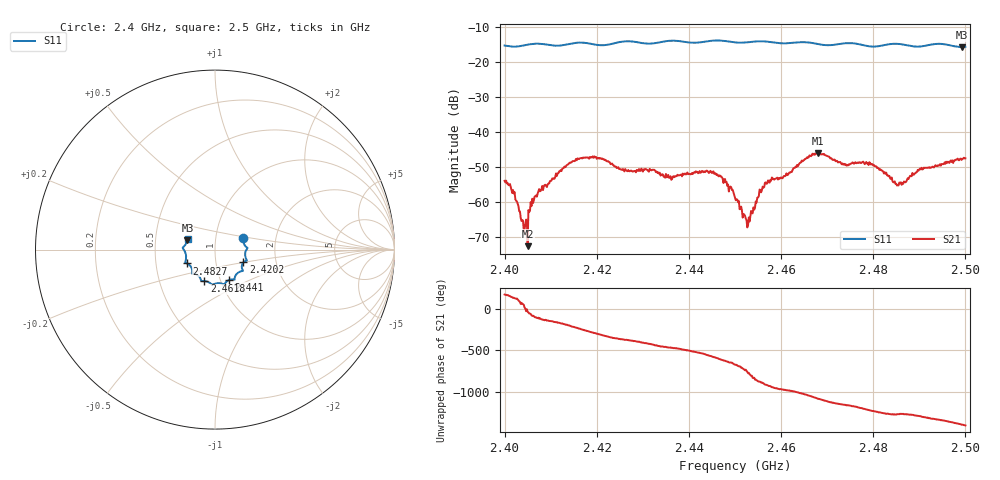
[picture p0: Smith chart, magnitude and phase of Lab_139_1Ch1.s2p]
# Hz S RI R 50
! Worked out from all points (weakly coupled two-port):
!   601 points, 2.4 GHz to 2.5 GHz, reference 50 ohm
!   highest |S21| = -45.99 dB at 2.468 GHz (marker M1); lowest = -72.6 dB at 2.405 GHz (marker M2)
!   lowest |S11| = -15.8 dB at 2.4993 GHz (marker M3), VSWR 1.39, Z = 36.5 + j3.84 ohm
!   |S11| at or under -10 dB: start of sweep to end of sweep
!   S12 and S22 are empty: the file has one direction only
!   S11 on the Smith chart (normalised r, x): 2.4 GHz: 1.36, +0.18; 2.4202 GHz: 1.36, -0.20; 2.441 GHz: 1.10, -0.39; 2.4618 GHz: 0.84, -0.30; 2.4827 GHz: 0.72, -0.11; 2.5 GHz: 0.73, +0.09
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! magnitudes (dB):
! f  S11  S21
! 2.4 GHz  -15.4  -53.9
! 2.4017 GHz  -15.7  -57.4
! 2.4045 GHz  -15.2  -66.4
! 2.405 GHz  -15.1  -72.6
! 2.4057 GHz  -15.0  -60.0
! 2.4077 GHz  -14.9  -56.9
! 2.4167 GHz  -14.5  -47.4
! 2.4202 GHz  -15.2  -47.4
! 2.4333 GHz  -14.5  -51.5
! 2.441 GHz  -14.6  -51.6
! 2.4457 GHz  -13.9  -51.7
! 2.45 GHz  -14.5  -58.5
! 2.4528 GHz  -14.4  -66.6
! 2.4567 GHz  -14.2  -54.4
! 2.4618 GHz  -14.7  -51.6
! 2.4667 GHz  -14.6  -46.6
! 2.468 GHz  -14.9  -46.0
! 2.4827 GHz  -15.2  -51.9
! 2.4833 GHz  -15.0  -52.6
! 2.4857 GHz  -14.9  -54.4
! 2.4993 GHz  -15.8  -47.7
! 2.5 GHz  -15.7  -47.5
